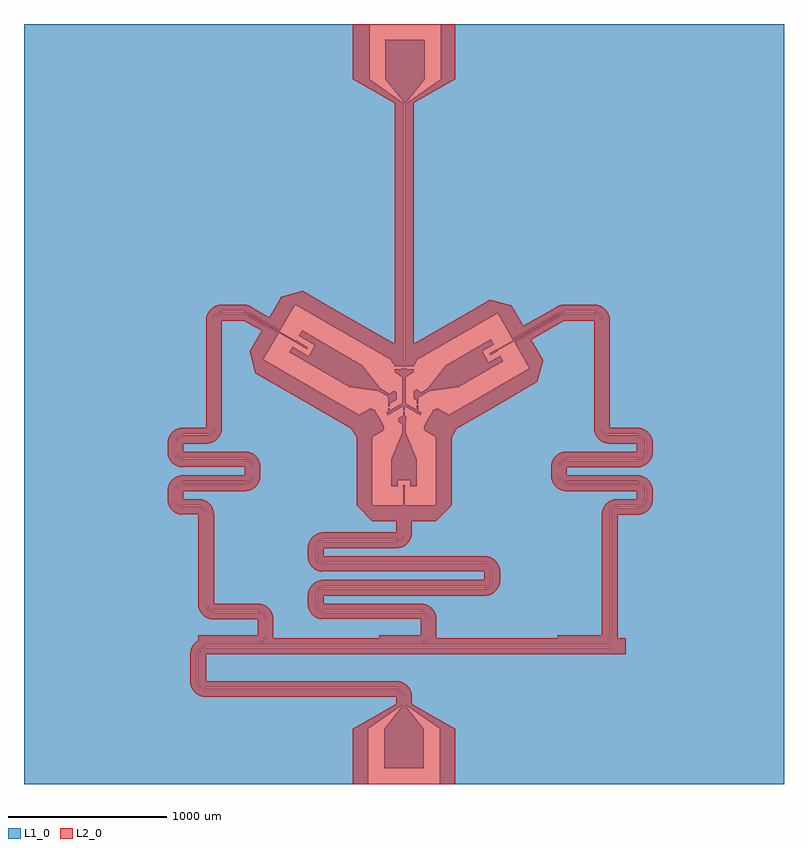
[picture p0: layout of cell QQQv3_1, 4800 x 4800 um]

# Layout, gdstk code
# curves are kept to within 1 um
import gdstk
lib = gdstk.Library(unit=1e-6, precision=1e-09)
def R(c, l, rs):  # rectangles x0, y0, x1, y1
    for r in rs: c.add(gdstk.rectangle(r[:2], r[2:], *l))
def P(c, l, *ps):  # polygons
    for p in ps: c.add(gdstk.Polygon(p, *l))
L1_0 = (1, 0)
L2_0 = (2, 0)

qqqv3_1 = lib.new_cell('QQQv3_1')
R(qqqv3_1, L1_0, [(-1254,-1253.831,-1246,-991.662), (-1254,-991.662,-1246,-729.494), (1296,-991.662,1304,-729.494)])
P(qqqv3_1, L1_0, [(-125,-2300),(-125,-2050),(-4,-1900),(4,-1900),(125,-2050),(125,-2300)],
  [(1529.194,-600),(1529.04,-545.766),(1524.574,-527.316),(1518.365,-516.252),(1508.295,-505.418),(1495.813,-497.484),(1483.805,-493.388),(1471.194,-492),(1028.806,-492),(1011.056,-488.065),(996.632,-476.997),(988.237,-460.87),(986.846,-451.832),(986.846,-398.168),(988.75,-387.37),(994.401,-375.91),(1003.238,-366.679),(1014.441,-360.533),(1028.806,-358),(1477.538,-357.652),(1497.714,-351.582),(1514.391,-338.704),(1525.367,-320.719),(1529.194,-300),(2400,-300),(2400,-600)],
  [(200,-300),(200,-209.808),(130.718,-169.808),(123.397,-142.487),(185.096,-35.622),(212.417,-28.301),(281.699,-68.301),(400,0),(1242,0),(1242.348,-156.344),(1248.418,-176.52),(1261.296,-193.197),(1277.316,-203.38),(1295.766,-207.845),(1480.285,-208.996),(1492.194,-213.627),(1503.368,-223.003),(1509.997,-233.927),(1513.154,-248.168),(1513.194,-300)],
  [(-560.997,-1265.625),(-561.037,-1206.866),(-556.47,-1188.91),(-548.856,-1176.643),(-539.931,-1168.054),(-527.381,-1160.915),(-513.388,-1157.356),(507.195,-1157),(518.593,-1155.566),(527.578,-1152.238),(535.678,-1147.121),(542.543,-1140.438),(552.466,-1140.438),(544.585,-1149.962),(532.948,-1158.464),(521.478,-1163.077),(509.26,-1164.961),(-512.885,-1165.353),(-523.917,-1168.147),(-533.925,-1173.563),(-542.297,-1181.27),(-548.521,-1190.797),(-551.788,-1199.708),(-553.156,-1209.099),(-552.962,-1265.625)],
  [(-547.729,-900),(-542.562,-888.347),(-534.137,-878.78),(-523.231,-872.182),(-510.847,-869.159),(-50,-869),(-29.281,-865.173),(-16.252,-858.171),(-5.418,-848.101),(3.38,-833.684),(7.382,-819.445),(8,-639),(200,-639),(200,-600),(1513.194,-600),(1511.25,-612.63),(1505.599,-624.09),(1495.285,-634.404),(1483.824,-640.056),(1471.194,-642),(1341.555,-642.618),(1331.273,-645.106),(1319.785,-650.492),(1311.296,-656.803),(1302.829,-666.252),(1295.106,-681.273),(1292.039,-697.882),(1292,-900)],
  [(-1254,-729.494),(-1254.039,-698.099),(-1255.912,-686.875),(-1262.563,-673.27),(-1267.473,-667.473),(-1274.84,-661.49),(-1285.064,-656.492),(-1296.201,-654.157),(-1395.583,-653.96),(-1411.767,-650.822),(-1426.251,-642.946),(-1437.683,-631.067),(-1444.998,-616.293),(-1447.514,-598.409),(-1439.514,-598.409),(-1437.022,-614.936),(-1433.031,-623.547),(-1428.616,-629.73),(-1418.674,-638.51),(-1408.451,-643.508),(-1395.415,-645.961),(-1295.866,-646.158),(-1281.747,-649.178),(-1268.933,-655.832),(-1261.092,-662.555),(-1254.674,-670.647),(-1249.915,-679.814),(-1246.988,-689.719),(-1246,-729.494)],
  [(-547.729,-1200),(-541.543,-1186.829),(-532.71,-1177.638),(-521.526,-1171.521),(-509.023,-1169.04),(511.429,-1168.845),(531.814,-1163.516),(548.95,-1151.256),(556.704,-1141.215),(561.368,-1131.719),(565.195,-1111),(565.041,-1056.766),(560.575,-1038.316),(554.366,-1027.252),(544.296,-1016.418),(531.814,-1008.484),(517.73,-1003.965),(-510.856,-1002.84),(-523.268,-999.803),(-532.763,-994.321),(-541.6,-985.09),(-546.662,-975.365),(-549.195,-961),(-549.154,-909.146),(-547.729,-900),(1292,-900),(1292,-1200)],
  [(-1423.598,-205.156),(-1411.134,-198.955),(-1395.508,-196.037),(-1244.31,-195.647),(-1235.064,-193.508),(-1228.106,-190.456),(-1220.27,-185.102),(-1214.898,-179.73),(-1207.874,-168.478),(-1204.157,-153.799),(-1204,57.013),(-1196,57.013),(-1196.04,-152.068),(-1197.42,-162.304),(-1199.915,-170.186),(-1204.674,-179.353),(-1209.686,-185.928),(-1217.264,-192.946),(-1226.039,-198.393),(-1235.691,-202.07),(-1245.866,-203.842),(-1393.514,-204)],
  [(-1435.514,-300),(-1435.474,-248.168),(-1434.083,-239.13),(-1425.688,-223.003),(-1411.264,-211.935),(-1395.346,-208.04),(-1243.656,-207.652),(-1223.48,-201.582),(-1212.899,-194.582),(-1205.418,-187.101),(-1195.827,-170.719),(-1192.155,-154.234),(-1192,0),(-400,0),(-281.699,-68.301),(-212.417,-28.301),(-185.096,-35.622),(-123.397,-142.487),(-130.718,-169.808),(-200,-209.808),(-200,-300)],
  [(-103.253,-71.16),(-113.253,-53.84),(-99.56,-45.934),(-99.56,-25.519),(-89.56,-25.519),(-89.56,-40.16),(-10,5.774),(-10,170),(-60,200),(-60,220),(-15,220),(-15,225),(-5,225),(-5,220),(5,220),(5,225),(15,225),(15,220),(60,220),(60,200),(10,170),(10,5.774),(80.311,-34.821),(80.311,-7.859),(90.311,-7.859),(90.311,-40.594),(113.253,-53.84),(103.253,-71.16),(5,-14.434),(5,-40),(-5,-40),(-5,-14.434)],
  [(-2400,-1200),(-2400,-600),(-1451.514,-600),(-1449.055,-616.71),(-1441.886,-632.003),(-1430.615,-644.582),(-1416.198,-653.38),(-1395.633,-657.961),(-1292.707,-658.638),(-1283.927,-661.197),(-1274.432,-666.679),(-1266.679,-674.432),(-1261.935,-682.25),(-1258,-700),(-1258,-1200)],
  [(-1435.514,-600),(-1435.474,-548.168),(-1433.571,-537.37),(-1428.937,-527.433),(-1423.213,-520.302),(-1414.514,-513.627),(-1406.144,-509.944),(-1393.514,-508),(-998.041,-507.382),(-978.099,-500.579),(-961.904,-487.101),(-951.592,-468.727),(-948.486,-450),(-948.524,-397.882),(-952.313,-379.281),(-958.114,-367.997),(-967.781,-356.803),(-978.099,-349.421),(-989.776,-344.459),(-1006.486,-342),(-1397.175,-341.84),(-1411.264,-338.065),(-1424.48,-328.375),(-1432.317,-316.073),(-1435.514,-300),(-200,-300),(-200,-600)],
  [(3.5,1900),(-117.5,2050),(-117.5,2300),(132.5,2300),(132.5,2050),(11.5,1900)],
  [(-105,-1516),(-105,-1508),(105,-1508),(114.44,-1507.021),(125.203,-1503.326),(133.254,-1498.3),(140.102,-1491.73),(145.456,-1483.894),(149.088,-1475.125),(150.961,-1463.901),(151,-1390.813),(159,-1390.813),(159,-1462),(157.58,-1474.304),(153.393,-1485.961),(147.946,-1494.736),(139.357,-1503.66),(128.961,-1510.393),(117.304,-1514.58),(107.068,-1515.96)],
  [(542.543,-1140.438),(550.122,-1127.533),(553.042,-1114.754),(553.195,-1061),(551.749,-1049.557),(546.538,-1037.165),(536.508,-1025.549),(525.007,-1018.588),(511.985,-1015.25),(535.882,-1015.25),(537.574,-1016.356),(545.351,-1022.788),(551.795,-1030.556),(556.681,-1039.387),(559.839,-1048.973),(561.195,-1061),(561.195,-1111),(560.201,-1121.314),(557.255,-1131.249),(552.466,-1140.438)],
  [(-2400,-1650),(-2400,-1575),(-1307.784,-1575),(-1307.904,-1576.664),(-1307.976,-1578.331),(-1308,-1580),(-1308,-1650)],
  [(-2400,-300),(-2400,0),(-1208,0),(-1208.04,-151.832),(-1211.197,-166.073),(-1217.826,-176.997),(-1230.607,-187.254),(-1246.339,-191.84),(-1395.633,-192.039),(-1408.185,-193.886),(-1420.034,-198.418),(-1430.615,-205.418),(-1438.096,-212.899),(-1445.096,-223.48),(-1449.055,-233.29),(-1451.476,-247.882),(-1451.514,-300)],
  [(400,0),(791.954,226.295),(695.954,392.572),(1000.768,567.406),(1013.397,569.35),(1203.661,569.19),(1212.63,567.406),(1222.567,562.773),(1235.422,549.917),(1240.569,538.221),(1242,527.35),(1242,0)],
  [(-1447.514,-598.409),(-1447.475,-547.932),(-1446.527,-539.719),(-1443.6,-529.814),(-1437.683,-518.933),(-1429.442,-509.686),(-1419.311,-502.56),(-1407.823,-497.93),(-1393.514,-496),(-1002.732,-495.847),(-993.511,-494.132),(-983.19,-489.665),(-971.69,-480.087),(-963.873,-467.325),(-955.34,-467.325),(-962.796,-481.736),(-974.196,-493.283),(-988.512,-500.921),(-1002.418,-503.847),(-1393.514,-504),(-1404.807,-505.408),(-1415.408,-509.544),(-1423.244,-514.898),(-1429.815,-521.746),(-1435.64,-531.522),(-1439.475,-548.099),(-1439.514,-598.409)],
  [(151,-1390.813),(150.843,-1357.201),(146.326,-1340.797),(140.102,-1331.27),(131.73,-1323.563),(123.478,-1318.874),(112.571,-1315.627),(-511.304,-1314.843),(-529.158,-1310.332),(-538.097,-1305.284),(-545.919,-1298.636),(-556.314,-1283.435),(-560.997,-1265.625),(-552.962,-1265.625),(-551.074,-1274.809),(-547.362,-1283.419),(-536.625,-1296.354),(-525.462,-1303.218),(-510.948,-1306.847),(105,-1307),(115.281,-1307.988),(127.09,-1311.725),(137.736,-1318.054),(147.946,-1328.264),(154.275,-1338.91),(158.842,-1356.866),(159,-1390.813)],
  [(-881.182,-1500),(-871.42,-1484.208),(-867.148,-1466.14),(-868.053,-1350),(145.534,-1350),(146.632,-1355.451),(146.366,-1469.27),(143.09,-1479.697),(138.375,-1487.498),(132.087,-1494.098),(122.889,-1500)],
  [(-2400,-2400),(-2400,-1800),(-1279.394,-1800),(-1266.221,-1805.686),(-1250,-1808),(-50,-1808),(-37.37,-1809.944),(-24.432,-1816.679),(-14.578,-1827.433),(-8.996,-1840.91),(-8,-1900),(-225,-2050),(-225,-2400)],
  [(-868.053,-1350),(-873.802,-1333.745),(-884.077,-1319.899),(-897.967,-1309.685),(-916.379,-1303.644),(-1200,-1303),(-1216.073,-1299.803),(-1230.966,-1289.375),(-1236.373,-1282),(-1240.569,-1271.87),(-1242,-1261),(-1242,-1200),(-564.143,-1200),(-565.157,-1263.118),(-561.368,-1281.719),(-555.567,-1293.003),(-545.9,-1304.197),(-533.715,-1312.582),(-519.806,-1317.612),(-507.195,-1319),(106.828,-1319.04),(119.331,-1321.521),(130.515,-1327.638),(139.348,-1336.829),(145.534,-1350)],
  [(225,-2400),(225,-2050),(8,-1900),(7.96,-1847.848),(5.461,-1833.029),(-4.472,-1814.067),(-20.606,-1800),(2400,-1800),(2400,-2400)],
  [(-20.606,-1800),(-33.779,-1794.314),(-50,-1792),(-1255.482,-1791.641),(-1267.75,-1788.065),(-1278.375,-1780.966),(-1286.373,-1771),(-1290.569,-1760.87),(-1292,-1750),(-1292,-1650),(2400,-1650),(2400,-1800)],
  [(1499.525,-336.24),(1509.738,-325.108),(1513.338,-318.437),(1516.22,-309.418),(1517.194,-300),(1516.85,-244.385),(1512.641,-230.045),(1505.342,-219.179),(1495.277,-210.808),(1481.442,-205.156),(1501.278,-205.156),(1506.145,-208.837),(1513.238,-216.113),(1518.842,-224.589),(1522.118,-232.033),(1524.582,-241.89),(1525.194,-300),(1523.223,-314.458),(1518.496,-326.049),(1511.227,-336.24)],
  [(-2400,-1800),(-2400,-1650),(-1308,-1650),(-1307.004,-1760.703),(-1304.05,-1771.038),(-1298.068,-1782.457),(-1289.712,-1792.273),(-1279.394,-1800)],
  [(-879,-1384.916),(-879.157,-1357.201),(-882.874,-1342.522),(-887.563,-1334.27),(-893.845,-1327.157),(-901.453,-1321.484),(-910.064,-1317.492),(-925,-1315),(-1200,-1315),(-1210.281,-1314.012),(-1220.186,-1311.085),(-1229.353,-1306.326),(-1237.445,-1299.908),(-1244.168,-1292.067),(-1248.393,-1284.961),(-1252.07,-1275.309),(-1253.842,-1265.134),(-1254,-1253.831),(-1246,-1253.831),(-1245.843,-1264.799),(-1244.088,-1274.125),(-1240.456,-1282.894),(-1233.843,-1292.155),(-1221.894,-1301.456),(-1207.571,-1306.373),(-925,-1307),(-916.757,-1307.633),(-906.747,-1310.178),(-895.647,-1315.674),(-887.555,-1322.092),(-879.674,-1331.647),(-874.178,-1342.747),(-871.158,-1356.866),(-871,-1384.916)],
  [(148.818,-1500),(157.753,-1486.107),(162.667,-1468.203),(162.652,-1354.656),(159.173,-1340.281),(152.171,-1327.252),(142.101,-1316.418),(127.684,-1307.62),(115.535,-1303.965),(105,-1303),(-514.488,-1302.362),(-524.945,-1299.065),(-535.57,-1291.966),(-542.618,-1283.567),(-547.251,-1273.63),(-549.195,-1261),(-549.154,-1209.146),(-547.729,-1200),(1292,-1200),(1291.841,-1465.649),(1289.483,-1476.321),(1284.452,-1486.023),(1277.087,-1494.098),(1267.889,-1500)],
  [(-1291.701,-1575),(-1286.787,-1559.734),(-1277.875,-1548.583),(-1265.743,-1541.062),(-1250,-1538),(2400,-1537.5),(2400,-1575)],
  [(-4,-1900),(-4.039,-1848.099),(-7.874,-1831.522),(-14.898,-1820.27),(-23.27,-1812.563),(-33.279,-1807.147),(-44.31,-1804.353),(-1254.134,-1803.842),(-1268.253,-1800.822),(-1279.353,-1795.326),(-1290.314,-1785.928),(-1297.44,-1775.797),(-1301.483,-1766.293),(-1303.644,-1756.193),(-1304,-1713),(-1296,-1713),(-1295.647,-1755.69),(-1293.508,-1764.936),(-1289.516,-1773.547),(-1282.527,-1782.527),(-1275.16,-1788.51),(-1264.936,-1793.508),(-1253.799,-1795.843),(-41.757,-1796.633),(-27.91,-1800.725),(-15.643,-1808.34),(-5.832,-1818.933),(0.822,-1831.747),(3.96,-1847.932),(4,-1900)],
  [(-1292,-1650),(-1292,-1580),(-1291.967,-1578.33),(-1291.867,-1576.662),(-1291.701,-1575),(2400,-1575),(2400,-1650)],
  [(1020,-1516),(1020,-1508),(1255.69,-1507.647),(1264.936,-1505.508),(1275.16,-1500.51),(1283.843,-1493.155),(1290.456,-1483.894),(1294.592,-1473.292),(1296,-1462),(1296,-991.662),(1304,-991.662),(1304,-1462),(1302.58,-1474.304),(1297.44,-1487.797),(1290.314,-1497.928),(1279.353,-1507.326),(1268.253,-1512.822),(1256.193,-1515.644)],
  [(-1242,-900),(-1242.039,-697.882),(-1245.106,-681.273),(-1251.628,-667.997),(-1258.246,-659.744),(-1267.997,-651.628),(-1279.281,-645.827),(-1289.465,-642.965),(-1395.346,-641.96),(-1407.879,-639.467),(-1419.082,-633.321),(-1427.919,-624.09),(-1433.571,-612.63),(-1435.514,-600),(-200,-600),(-200,-639),(-8,-639),(-8.638,-818.293),(-11.935,-828.75),(-19.034,-839.375),(-29,-847.373),(-40.91,-852.004),(-511.518,-853.161),(-530.329,-857.813),(-546.558,-868.402),(-558.393,-883.745),(-564.143,-900)],
  [(1296,-729.494),(1296.158,-695.866),(1299.178,-681.747),(1302.56,-674.203),(1308.34,-665.643),(1314.072,-659.686),(1322.405,-653.583),(1335.691,-647.93),(1347.932,-646.04),(1471.194,-646),(1482.487,-644.592),(1494.741,-639.516),(1505.038,-631.155),(1510.711,-623.547),(1514.048,-616.721),(1516.567,-607.571),(1517.194,-598.409),(1525.194,-598.409),(1522.678,-616.293),(1515.363,-631.067),(1503.931,-642.946),(1496.991,-647.44),(1487.487,-651.483),(1471.194,-654),(1348.099,-654.039),(1336.875,-655.912),(1326.453,-660.484),(1314.898,-670.27),(1307.874,-681.522),(1304.157,-696.201),(1304,-729.494)],
  [(-2400,-1537.5),(-2400,-1500),(-907.111,-1500),(-915.835,-1502.988),(-925,-1504),(-1250,-1504),(-1250,-1520),(-922.841,-1519.96),(-912.15,-1518.559),(-899.939,-1514.306),(-890.69,-1508.764),(-881.182,-1500),(122.889,-1500),(114.165,-1502.988),(105,-1504),(-105,-1504),(-105,-1520),(109.315,-1519.839),(122.022,-1517.446),(131.991,-1513.337),(141.027,-1507.454),(148.818,-1500),(1267.889,-1500),(1259.165,-1502.988),(1250,-1504),(1020,-1504),(1020,-1520),(1254.315,-1519.839),(1267.022,-1517.446),(1276.991,-1513.337),(1286.027,-1507.454),(1293.818,-1500),(2400,-1500),(2400,-1537.5),(1300,-1537.5),(1300,-1522),(-1250,-1522),(-1260.789,-1523.012),(-1271.201,-1526.014),(-1280.874,-1530.9),(-1289.468,-1537.5)],
  [(-2400,-1575),(-2400,-1537.5),(-1289.468,-1537.5),(-1302.116,-1554.546),(-1307.784,-1575)],
  [(1517.194,-598.409),(1517.155,-548.099),(1514.048,-533.279),(1508.631,-523.27),(1500.924,-514.898),(1493.088,-509.544),(1482.487,-505.408),(1471.194,-504),(1024.738,-503.847),(1010.832,-500.921),(996.516,-493.283),(985.116,-481.736),(977.66,-467.325),(986.193,-467.325),(994.01,-480.087),(1005.51,-489.665),(1015.831,-494.132),(1026.927,-495.962),(1471.194,-496),(1483.498,-497.42),(1496.991,-502.56),(1507.122,-509.686),(1516.52,-520.647),(1522.678,-533.707),(1525.155,-547.932),(1525.194,-598.409)],
  [(1293.818,-1500),(1303.58,-1484.208),(1307.963,-1464.071),(1308,-1200),(2400,-1200),(2400,-1500)],
  [(-1204,57.013),(-1203.842,531.484),(-1200.822,545.603),(-1195.326,556.703),(-1185.928,567.664),(-1173.961,575.743),(-1162.304,579.93),(-1150,581.35),(-1011.378,581.313),(-993.669,577.617),(-682.16,398.464),(-680.66,401.062),(-607.914,359.062),(-614.914,346.938),(-687.66,388.938),(-686.16,391.536),(-997.086,570.361),(-1013.397,573.35),(-1150,573.35),(-1161.292,571.943),(-1170.203,568.676),(-1181.155,561.194),(-1188.51,552.51),(-1193.508,542.286),(-1195.843,531.149),(-1196,57.013)],
  [(-2400,-1500),(-2400,-1200),(-1258,-1200),(-1257.961,-1263.118),(-1255.541,-1277.71),(-1250.579,-1289.386),(-1243.197,-1299.704),(-1233.748,-1308.171),(-1222.684,-1314.38),(-1210.535,-1318.035),(-1200,-1319),(-919.518,-1319.359),(-905.607,-1323.746),(-894.034,-1332.625),(-886.197,-1344.927),(-883.16,-1357.339),(-883.634,-1469.27),(-886.91,-1479.697),(-891.625,-1487.498),(-897.913,-1494.098),(-907.111,-1500)],
  [(-1242,-1200),(-1242,-900),(-564.143,-900),(-565.157,-963.118),(-560.575,-983.684),(-553.102,-996.448),(-542.643,-1006.907),(-529.879,-1014.38),(-515.64,-1018.382),(509.027,-1019.04),(523.268,-1022.197),(535.57,-1030.034),(544.45,-1041.607),(549.035,-1057.339),(549.155,-1112.832),(545.998,-1127.073),(540.516,-1136.568),(532.763,-1144.321),(523.268,-1149.803),(510.856,-1152.84),(-509.358,-1153.04),(-528.329,-1156.988),(-544.942,-1166.964),(-557.341,-1181.855),(-564.143,-1200)],
  [(-99.56,-15.519),(-99.56,45.934),(-160.885,81.34),(-343.109,105.718),(-724.16,325.718),(-704.16,360.359),(-602.835,301.859),(-562.835,371.141),(-664.16,429.641),(-644.16,464.282),(-263.109,244.282),(-150.885,98.66),(-93.024,65.254),(-62.321,82.981),(-45,72.981),(-45,25.981),(-82.239,4.481),(-89.56,8.707),(-89.56,-15.519)],
  [(-1192,0),(-1191.84,531.011),(-1188.065,545.1),(-1178.375,558.316),(-1166.073,566.153),(-1150,569.35),(-1013.397,569.35),(-1000.768,567.406),(-792.083,448.072),(-888.083,281.795),(-400,0)],
  [(1481.442,-205.156),(1471.194,-204),(1295.866,-203.842),(1285.691,-202.07),(1276.039,-198.393),(1267.264,-192.946),(1259.686,-185.928),(1254.674,-179.353),(1249.915,-170.186),(1247.42,-162.304),(1246.04,-152.068),(1246,57.013),(1254,57.013),(1254.157,-153.799),(1257.874,-168.478),(1266.157,-181.155),(1278.106,-190.456),(1285.064,-193.508),(1294.31,-195.647),(1473.188,-196.037),(1488.814,-198.955),(1501.278,-205.156)],
  [(80.311,2.141),(80.311,31.368),(72.99,27.141),(60,34.641),(60,81.641),(77.321,91.641),(108.024,73.915),(150.885,98.66),(263.109,244.282),(548.031,408.782),(568.031,374.141),(494.419,331.641),(534.419,262.359),(608.031,304.859),(628.031,270.218),(343.109,105.718),(160.885,81.34),(90.311,40.594),(90.311,2.141)],
  [(1529.194,-300),(1529.156,-247.882),(1526.088,-231.273),(1520.703,-219.785),(1514.391,-211.296),(1504.942,-202.829),(1495.813,-197.484),(1485.864,-193.886),(1473.313,-192.039),(1296.339,-191.84),(1282.25,-188.065),(1269.034,-178.375),(1261.197,-166.073),(1258.04,-151.832),(1258,0),(2400,0),(2400,-300)],
  [(200,-600),(200,-300),(1513.194,-300),(1509.997,-316.073),(1502.16,-328.375),(1488.944,-338.065),(1474.855,-341.84),(1018.271,-342.965),(1000.419,-349.421),(984.224,-362.899),(973.912,-381.273),(970.806,-400),(970.844,-452.118),(973.912,-468.727),(979.297,-480.215),(987.051,-490.256),(996.803,-498.372),(1008.086,-504.173),(1028.806,-508),(1478.488,-508.638),(1488.944,-511.935),(1498.191,-517.826),(1505.599,-525.91),(1510.661,-535.635),(1513.154,-548.168),(1513.194,-600)],
  [(-2400,-600),(-2400,-300),(-1451.514,-300),(-1448.408,-318.727),(-1438.096,-337.101),(-1421.901,-350.579),(-1404.049,-357.035),(-1002.825,-358.16),(-990.413,-361.197),(-978.111,-369.034),(-969.231,-380.607),(-964.845,-394.518),(-964.526,-451.832),(-966.429,-462.63),(-971.063,-472.567),(-978.111,-480.966),(-987.092,-487.254),(-997.395,-491.004),(-1393.514,-492),(-1404.049,-492.965),(-1416.198,-496.62),(-1425.517,-501.628),(-1435.269,-509.744),(-1443.023,-519.785),(-1448.408,-531.273),(-1451.476,-547.882),(-1451.514,-600)],
  [(-2400,0),(-2400,2400),(-217.5,2400),(-217.5,2050),(-0.5,1900),(-0.5,275),(3.75,250.6),(-6,250.6),(-6,248.6),(57.5,248.6),(57.5,250.6),(5.75,250.6),(3.5,275),(3.5,1900),(11.5,1900),(11.5,275),(9.25,254.1),(20,254.1),(20,256.1),(11.25,256.1),(15.5,275),(15.5,1900),(232.5,2050),(232.5,2400),(2400,2400),(2400,0),(1258,0),(1257.845,531.584),(1253.38,550.034),(1243.197,566.055),(1230.215,576.859),(1212.611,583.963),(1200,585.35),(1013.397,585.35),(994.241,582.096),(687.954,406.428),(591.954,572.705),(83.484,279.139),(60,240),(15,240),(15,235),(5,235),(5,240),(-5,240),(-5,235),(-15,235),(-15,240),(-60,240),(-83.484,279.139),(-688.083,628.205),(-784.083,461.928),(-984.397,577.58),(-998.386,583.374),(-1013.397,585.35),(-1156.344,585.002),(-1176.52,578.932),(-1187.101,571.932),(-1194.582,564.451),(-1204.173,548.07),(-1207.961,529.469),(-1208,0)],
  [(-80,-519),(-80,-350),(-10,-180),(-10,-126.509),(-37.239,-110.782),(-37.239,-90.782),(-5,-72.169),(-5,-50),(5,-50),(5,-72.169),(12.99,-76.782),(12.99,-96.782),(10,-98.509),(10,-180),(80,-350),(80,-519),(40,-519),(40,-481.5),(-40,-481.5),(-40,-519)],
  [(-1304,-1713),(-1304,-1580),(-1302.07,-1565.691),(-1295.326,-1550.647),(-1284.357,-1538.34),(-1270.186,-1529.915),(-1254.134,-1526.158),(1300,-1526),(1300,-1534),(-1253.799,-1534.157),(-1268.478,-1537.874),(-1279.73,-1544.898),(-1288.51,-1554.84),(-1294.088,-1566.875),(-1296,-1580),(-1296,-1713)],
  [(-4,-764.875),(-4,-519),(-7,-519),(-7,-514.5),(7,-514.5),(7,-519),(4,-519),(4,-764.875)],
  [(1308,-1200),(1308.04,-698.168),(1309.431,-689.13),(1313.627,-679),(1320.302,-670.302),(1329,-663.627),(1339.13,-659.431),(1348.168,-658.04),(1471.194,-658),(1487.904,-655.541),(1504.942,-647.171),(1518.365,-633.748),(1526.088,-618.727),(1529.194,-600),(2400,-600),(2400,-1200)],
  [(-963.873,-467.325),(-960.52,-451.776),(-960.525,-398.099),(-961.893,-388.708),(-966.03,-378.106),(-972.642,-368.845),(-981.326,-361.49),(-993.36,-355.912),(-1006.486,-354),(-1395.564,-353.961),(-1405.707,-352.606),(-1415.412,-349.361),(-1425.992,-343.142),(-1433.547,-336.24),(-1421.845,-336.24),(-1408.497,-343.492),(-1395.421,-345.96),(-1006.486,-346),(-992.177,-347.93),(-978.891,-353.583),(-967.577,-362.555),(-959.046,-374.203),(-953.906,-387.696),(-952.486,-400),(-952.805,-455.867),(-955.34,-467.325)],
  [(-1433.547,-336.24),(-1442.689,-322.312),(-1447.15,-306.259),(-1447.514,-250),(-1446.14,-237.893),(-1442.94,-228.249),(-1439.113,-221.073),(-1432.887,-213.043),(-1426.89,-207.549),(-1423.598,-205.156),(-1403.762,-205.156),(-1415.979,-209.859),(-1426.376,-217.812),(-1434.113,-228.371),(-1438.561,-240.683),(-1439.514,-250),(-1438.89,-307.554),(-1436.382,-316.684),(-1433.06,-323.497),(-1427.412,-331.096),(-1421.845,-336.24)],
  [(511.985,-1015.25),(-513.388,-1014.644),(-527.381,-1011.085),(-539.931,-1003.946),(-548.856,-995.357),(-556.47,-983.09),(-559.775,-973.304),(-561.156,-963.068),(-560.877,-905.148),(-556.971,-890.063),(-548.154,-890.063),(-551.917,-900.232),(-553.195,-911),(-553.038,-964.799),(-548.521,-981.203),(-541.039,-992.155),(-532.355,-999.51),(-522.131,-1004.508),(-510.994,-1006.843),(507.195,-1007),(523.086,-1009.391),(535.882,-1015.25)],
  [(-1250,-1516),(-1250,-1508),(-925,-1508),(-910.064,-1505.508),(-899.84,-1500.51),(-892.473,-1494.527),(-886.49,-1487.16),(-881.492,-1476.936),(-879.039,-1463.901),(-879,-1384.916),(-871,-1384.916),(-871.04,-1464.068),(-872.93,-1476.309),(-877.56,-1487.797),(-884.686,-1497.928),(-895.647,-1507.326),(-906.747,-1512.822),(-916.757,-1515.367),(-925,-1516)],
  [(-556.971,-890.063),(-548.47,-876.18),(-537.919,-866.592),(-525.226,-860.099),(-511.277,-857.154),(-50,-857),(-40.56,-856.021),(-31.522,-853.126),(-21.746,-847.3),(-14.898,-840.73),(-8.674,-831.203),(-4.157,-814.799),(-4,-764.875),(4,-764.875),(3.842,-815.134),(0.085,-831.186),(-5.832,-842.067),(-14.072,-851.314),(-24.203,-858.44),(-37.696,-863.58),(-50,-865),(-509.066,-865.038),(-518.311,-866.363),(-528.767,-870.372),(-540.624,-879.4),(-548.154,-890.063)],
  [(977.66,-467.325),(974.806,-450),(974.845,-397.932),(977.322,-383.707),(983.48,-370.647),(992.878,-359.686),(1003.009,-352.56),(1016.502,-347.42),(1028.806,-346),(1473.101,-345.96),(1486.177,-343.492),(1499.525,-336.24),(1511.227,-336.24),(1503.671,-343.142),(1493.092,-349.361),(1483.387,-352.606),(1473.244,-353.961),(1028.806,-354),(1017.513,-355.408),(1006.912,-359.544),(997.651,-366.157),(990.296,-374.84),(985.298,-385.064),(982.845,-398.099),(982.806,-450),(983.66,-458.826),(986.193,-467.325)],
  [(1246,57.013),(1245.961,529.251),(1243.508,542.286),(1237.437,554.08),(1228.254,563.651),(1216.721,570.203),(1200,573.35),(1013.397,573.35),(997.086,570.361),(590.031,336.036),(591.531,333.438),(546.498,307.438),(539.498,319.562),(584.531,345.562),(586.031,342.964),(993.669,577.617),(1003.358,580.409),(1013.397,581.35),(1200,581.35),(1218.253,578.172),(1232.736,570.296),(1242.946,560.086),(1250.822,545.603),(1253.96,529.419),(1254,57.013)])
R(qqqv3_1, L2_0, [(1250,-1350,1350,-1200), (-60,600,60,1200)])
P(qqqv3_1, L2_0, [(-819.837,600),(-774.686,678.205),(-638.083,714.808),(-439.23,600)],
  [(-1218.717,600),(-1205.572,610.487),(-1188.28,619.734),(-1169.515,625.428),(-1150,627.35),(-999.662,626.402),(-973.228,618.928),(-939.23,600)],
  [(1471.194,-300),(1471.194,-250),(1286.021,-249.018),(1269.632,-245.278),(1254.102,-238.845),(1239.868,-229.901),(1225.436,-216.635),(1216.853,-205.557),(1208.722,-190.844),(1203.908,-177.684),(1200.629,-161.196),(1200,0),(1300,0),(1300,-150),(1485.173,-150.982),(1501.562,-154.722),(1517.093,-161.155),(1531.326,-170.099),(1545.759,-183.365),(1560.039,-204.102),(1568.687,-227.748),(1571.155,-247.195),(1571.194,-300)],
  [(928.806,-450),(929.434,-388.804),(933.528,-369.632),(939.961,-354.102),(952.402,-335.483),(968.674,-320.099),(985.417,-309.903),(1006.554,-302.507),(1028.806,-300),(1571.194,-300),(1569.781,-316.751),(1565.583,-333.028),(1558.717,-348.372),(1549.377,-362.349),(1537.829,-374.564),(1524.398,-384.672),(1509.463,-392.388),(1493.446,-397.493),(1471.194,-400),(1028.806,-400),(1028.806,-450)],
  [(1471.194,-600),(1471.194,-550),(1028.806,-550),(1001.122,-546.092),(985.417,-540.097),(973.249,-533.147),(960.106,-522.666),(948.905,-510.132),(941.283,-498.372),(934.417,-483.028),(930.219,-466.751),(928.806,-450),(1471.194,-450),(1498.878,-453.908),(1517.093,-461.155),(1535.712,-473.596),(1551.095,-489.868),(1561.291,-506.612),(1567.286,-522.316),(1570.566,-538.804),(1571.194,-600)],
  [(1250,-1200),(1250.039,-697.195),(1253.908,-672.316),(1262.478,-651.628),(1275.436,-633.365),(1292.133,-618.444),(1311.732,-607.612),(1333.249,-601.413),(1350,-600),(1571.194,-600),(1567.286,-627.684),(1555.867,-653.203),(1545.759,-666.635),(1535.712,-676.404),(1512.039,-691.278),(1493.446,-697.493),(1476.801,-699.843),(1350,-700),(1350,-1200)],
  [(939.23,600),(978.334,621.001),(994.226,625.495),(1013.397,627.35),(1211.2,626.721),(1227.692,623.44),(1243.401,617.441),(1257.883,608.895),(1268.717,600)],
  [(-1250,0),(-1249.843,532.956),(-1246.832,552.321),(-1240.103,570.727),(-1231.567,585.203),(-1218.717,600),(-939.23,600),(-849.686,548.301),(-819.837,600),(-439.23,600),(-60,381.051),(-60,600),(60,600),(60,381.051),(439.23,600),(691.666,600),(753.557,492.801),(939.23,600),(1268.717,600),(1286.139,578.144),(1293.429,563.002),(1297.494,549.596),(1300,527.35),(1300,0),(1200,0),(1200,527.35),(1013.397,527.35),(803.557,406.199),(878.557,276.295),(841.954,139.692),(600,0),(-600,0),(-938.083,195.192),(-974.686,331.795),(-899.686,461.699),(-1013.397,527.35),(-1150,527.35),(-1150,0)],
  [(-1493.514,-600),(-1492.886,-538.804),(-1488.792,-519.632),(-1482.359,-504.102),(-1471.698,-487.651),(-1455.863,-471.817),(-1439.413,-461.155),(-1418.492,-453.17),(-1393.514,-450),(-906.486,-450),(-907.899,-466.751),(-912.097,-483.028),(-918.963,-498.372),(-928.302,-512.349),(-939.851,-524.564),(-953.282,-534.672),(-968.217,-542.388),(-981.508,-546.83),(-1006.486,-550),(-1393.514,-550),(-1393.514,-600)],
  [(-552.791,-1350),(-567.097,-1341.074),(-581.608,-1327.803),(-593.242,-1311.95),(-601.549,-1294.127),(-607.037,-1266.624),(-606.588,-1200),(552.791,-1200),(531.999,-1207.875),(507.195,-1211),(-507.195,-1211),(-507.195,-1261),(105,-1261),(124.535,-1262.927),(138.071,-1266.627),(153.432,-1273.511),(165.202,-1281.152),(177.742,-1292.38),(188.221,-1305.554),(196.342,-1320.298),(201.875,-1336.195),(204.393,-1350)],
  [(-552.791,-1050),(-567.097,-1041.074),(-581.608,-1027.803),(-593.242,-1011.95),(-601.549,-994.127),(-607.037,-966.624),(-606.588,-900),(-4.404,-900),(-25.197,-907.875),(-47.215,-910.961),(-507.195,-911),(-507.195,-961),(518.407,-961.63),(534.915,-964.919),(550.638,-970.93),(565.131,-979.492),(577.981,-990.365),(588.826,-1003.238),(597.358,-1017.749),(603.335,-1033.485),(606.588,-1050)],
  [(-300,-600),(-300,-209.808),(-331.699,-154.904),(-600,0),(600,0),(331.699,-154.904),(300,-209.808),(300,-600)],
  [(-60,1200),(-60,1900),(-58,1900),(-325,2050),(-325,2400),(325,2400),(325,2050),(58,1900),(60,1900),(60,1200)],
  [(439.23,600),(541.954,659.308),(678.557,622.705),(691.666,600)],
  [(-1300,-1200),(-1300,-700),(-1401.919,-699.646),(-1421.198,-696.092),(-1439.413,-688.845),(-1462.214,-672.666),(-1479.646,-650.808),(-1490.345,-624.978),(-1493.514,-600),(-1300,-600),(-1277.748,-602.507),(-1254.102,-611.155),(-1231.3,-627.334),(-1215.328,-646.797),(-1204.722,-669.632),(-1201.413,-683.249),(-1200,-700),(-1200,-1200)],
  [(-1310,-1500),(-1300,-1493.397),(-1300,-1462),(-925,-1462),(-925,-1361),(-1202.785,-1360.961),(-1224.803,-1357.875),(-1245.596,-1350),(-825.607,-1350),(-825,-1462),(-826.633,-1480),(-155,-1480),(-155,-1462),(105,-1462),(105,-1361),(-509.98,-1360.961),(-531.999,-1357.875),(-552.791,-1350),(204.393,-1350),(205,-1462),(203.367,-1480),(970,-1480),(970,-1462),(1250,-1462),(1250,-1350),(1350,-1350),(1350,-1462),(1348.367,-1480),(1400,-1480),(1400,-1500)],
  [(-1006.486,-450),(-1006.486,-400),(-1393.514,-400),(-1410.265,-398.587),(-1423.882,-395.278),(-1439.413,-388.845),(-1451.382,-381.556),(-1464.225,-370.711),(-1473.415,-360.132),(-1481.037,-348.372),(-1487.903,-333.028),(-1492.101,-316.751),(-1493.514,-300),(-1006.486,-300),(-989.735,-301.413),(-976.118,-304.722),(-958.114,-312.478),(-941.968,-323.596),(-928.302,-337.651),(-916.389,-356.612),(-910.394,-372.316),(-907.114,-388.804),(-906.486,-450)],
  [(-1245.596,-1350),(-1259.902,-1341.074),(-1274.413,-1327.803),(-1286.047,-1311.95),(-1294.354,-1294.127),(-1299.842,-1266.624),(-1300,-1200),(-1200,-1200),(-1200,-1261),(-922.192,-1261.039),(-894.592,-1265.735),(-869.377,-1277.897),(-858.292,-1286.502),(-846.741,-1298.746),(-832.551,-1322.879),(-825.607,-1350)],
  [(-1493.514,-300),(-1493.357,-244.393),(-1490.345,-225.022),(-1479.646,-199.192),(-1471.698,-187.651),(-1460.149,-175.436),(-1446.718,-165.328),(-1434.359,-158.722),(-1421.198,-153.908),(-1404.711,-150.629),(-1250,-150),(-1250,0),(-1150,0),(-1150.982,-163.979),(-1154.722,-180.368),(-1161.155,-195.898),(-1170.099,-210.132),(-1183.365,-224.564),(-1194.443,-233.147),(-1209.156,-241.278),(-1222.316,-246.092),(-1238.804,-249.371),(-1393.514,-250),(-1393.514,-300)],
  [(-1336.603,-1800),(-1346.227,-1777.21),(-1349.848,-1755.509),(-1349.645,-1571.58),(-1346.078,-1552.268),(-1337.479,-1531.549),(-1326.323,-1515.387),(-1310,-1500),(1400,-1500),(1400,-1580),(-1250,-1580),(-1250,-1750),(-47.17,-1750.04),(-22.074,-1753.979),(1.22,-1764.114),(21.209,-1779.791),(36.603,-1800)],
  [(-606.588,-1200),(-602.525,-1180.795),(-596.108,-1165.234),(-587.172,-1150.969),(-575.97,-1138.405),(-562.819,-1127.897),(-548.092,-1119.745),(-532.206,-1114.178),(-515.612,-1111.355),(507.195,-1111),(507.195,-1061),(-507.195,-1061),(-531.999,-1057.875),(-552.791,-1050),(606.588,-1050),(607.037,-1116.624),(601.549,-1144.127),(593.242,-1161.95),(581.608,-1177.803),(567.097,-1191.074),(552.791,-1200)],
  [(-325,-2400),(-325,-2050),(-58,-1900),(-50,-1900),(-50,-1850),(-1252.83,-1849.96),(-1277.926,-1846.021),(-1301.22,-1835.886),(-1321.209,-1820.209),(-1336.603,-1800),(36.603,-1800),(44.582,-1817.53),(49.052,-1836.265),(50,-1900),(58,-1900),(325,-2050),(325,-2400)],
  [(-606.588,-900),(-604.07,-886.195),(-598.537,-870.298),(-590.416,-855.554),(-579.937,-842.38),(-567.397,-831.152),(-553.151,-822.185),(-537.603,-815.735),(-523.968,-812.417),(-507.195,-811),(-50,-811),(-50,-739),(-200,-739),(-300,-639),(-300,-600),(300,-600),(300,-639),(200,-739),(50,-739),(49.842,-816.624),(44.354,-844.127),(36.047,-861.95),(24.413,-877.803),(9.902,-891.074),(-4.404,-900)])

lib.write_gds('QQQv3_1.gds')
